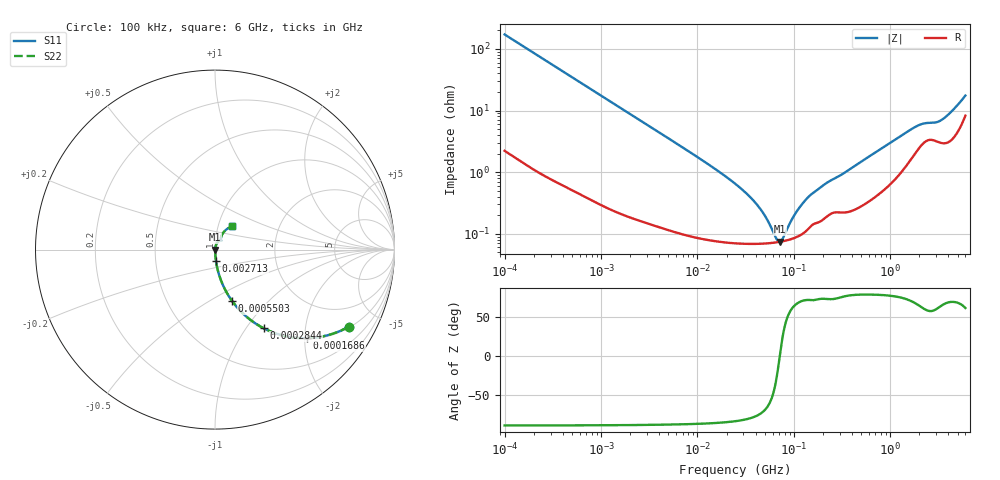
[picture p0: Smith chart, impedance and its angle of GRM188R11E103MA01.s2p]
!Murata Part Number: GRM188R11E103MA01
!These Parameters are Measured in Series Mode Connection
!Data Generated on Mar 30, 2021
!  o--ll--o
!Port1  Port2
!  o------o
!Operation Temp=25[degC], DC Bias Voltage=0[V]
!Freq. Start=100[kHz] Stop=6[GHz] 401[Steps]
# Hz S RI R 50
!Freq.(Hz) S11(Real) S11(Imag) S21(Real) S21(Imag) S12(Real) S12(Imag) S22(Real) S22(Imag)
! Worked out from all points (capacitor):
!   401 points, 100 kHz to 6 GHz, reference 50 ohm
!   read as one part in series: C = 9.25 nF near 105.7 kHz
!   lowest |Z| = 73.9 mohm at 71.61 MHz (marker M1)
!   series resonance near 71.31 MHz, so ESL is about 540 pH
!   S11 on the Smith chart (normalised r, x): 100 kHz: 1.04, -3.43; 168.6 kHz: 1.03, -2.04; 284.4 kHz: 1.02, -1.22; 550.3 kHz: 1.01, -0.63; 2.713 MHz: 1.00, -0.13; 6 GHz: 1.16, +0.31
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100000  0.744 -0.43  0.256 0.43  0.256 0.43  0.744 -0.43
168641  0.5109 -0.4936  0.4891 0.4936  0.4891 0.4936  0.5109 -0.4936
284397  0.2728 -0.4388  0.7272 0.4388  0.7272 0.4388  0.2728 -0.4388
550318  0.0943 -0.2848  0.9057 0.2848  0.9057 0.2848  0.0943 -0.2848
631452  0.074 -0.2542  0.926 0.2542  0.926 0.2542  0.074 -0.2542
1255957  0.0214 -0.1361  0.9786 0.1361  0.9786 0.1361  0.0214 -0.1361
2712972  0.00572 -0.0644  0.9943 0.0644  0.9943 0.0644  0.00572 -0.0644
3987316  0.00322 -0.0441  0.9968 0.0441  0.9968 0.0441  0.00322 -0.0441
1.301164e7  0.000962 -0.0133  0.999 0.0133  0.999 0.0133  0.000962 -0.0133
2.517799e7  0.000735 -0.00625  0.9993 0.00625  0.9993 0.00625  0.000735 -0.00625
3.407377e7  0.000699 -0.00408  0.9993 0.00408  0.9993 0.00408  0.000699 -0.00408
4.36444e7  0.000692 -0.00258  0.9993 0.00258  0.9993 0.00258  0.000692 -0.00258
5.291103e7  0.000699 -0.00153  0.9993 0.00153  0.9993 0.00153  0.000699 -0.00153
6.593397e7  0.000723 -0.000397  0.9993 0.000397  0.9993 0.000397  0.000723 -0.000397
7.160533e7  0.000738 2.1e-05  0.9993 -2.1e-05  0.9993 -2.1e-05  0.000738 2.1e-05
7.776452e7  0.000757 0.00044  0.9992 -0.00044  0.9992 -0.00044  0.000757 0.00044
1.081748e8  0.000895 0.00219  0.9991 -0.00219  0.9991 -0.00219  0.000895 0.00219
1.546735e8  0.0014 0.00424  0.9986 -0.00424  0.9986 -0.00424  0.0014 0.00424
9.76689e8  0.0069 0.0281  0.9931 -0.0281  0.9931 -0.0281  0.0069 0.0281
1.942633e9  0.0255 0.0497  0.9745 -0.0497  0.9745 -0.0497  0.0255 0.0497
3.367428e9  0.0325 0.0593  0.9675 -0.0593  0.9675 -0.0593  0.0325 0.0593
6e9  0.0946 0.129  0.9054 -0.129  0.9054 -0.129  0.0946 0.129
